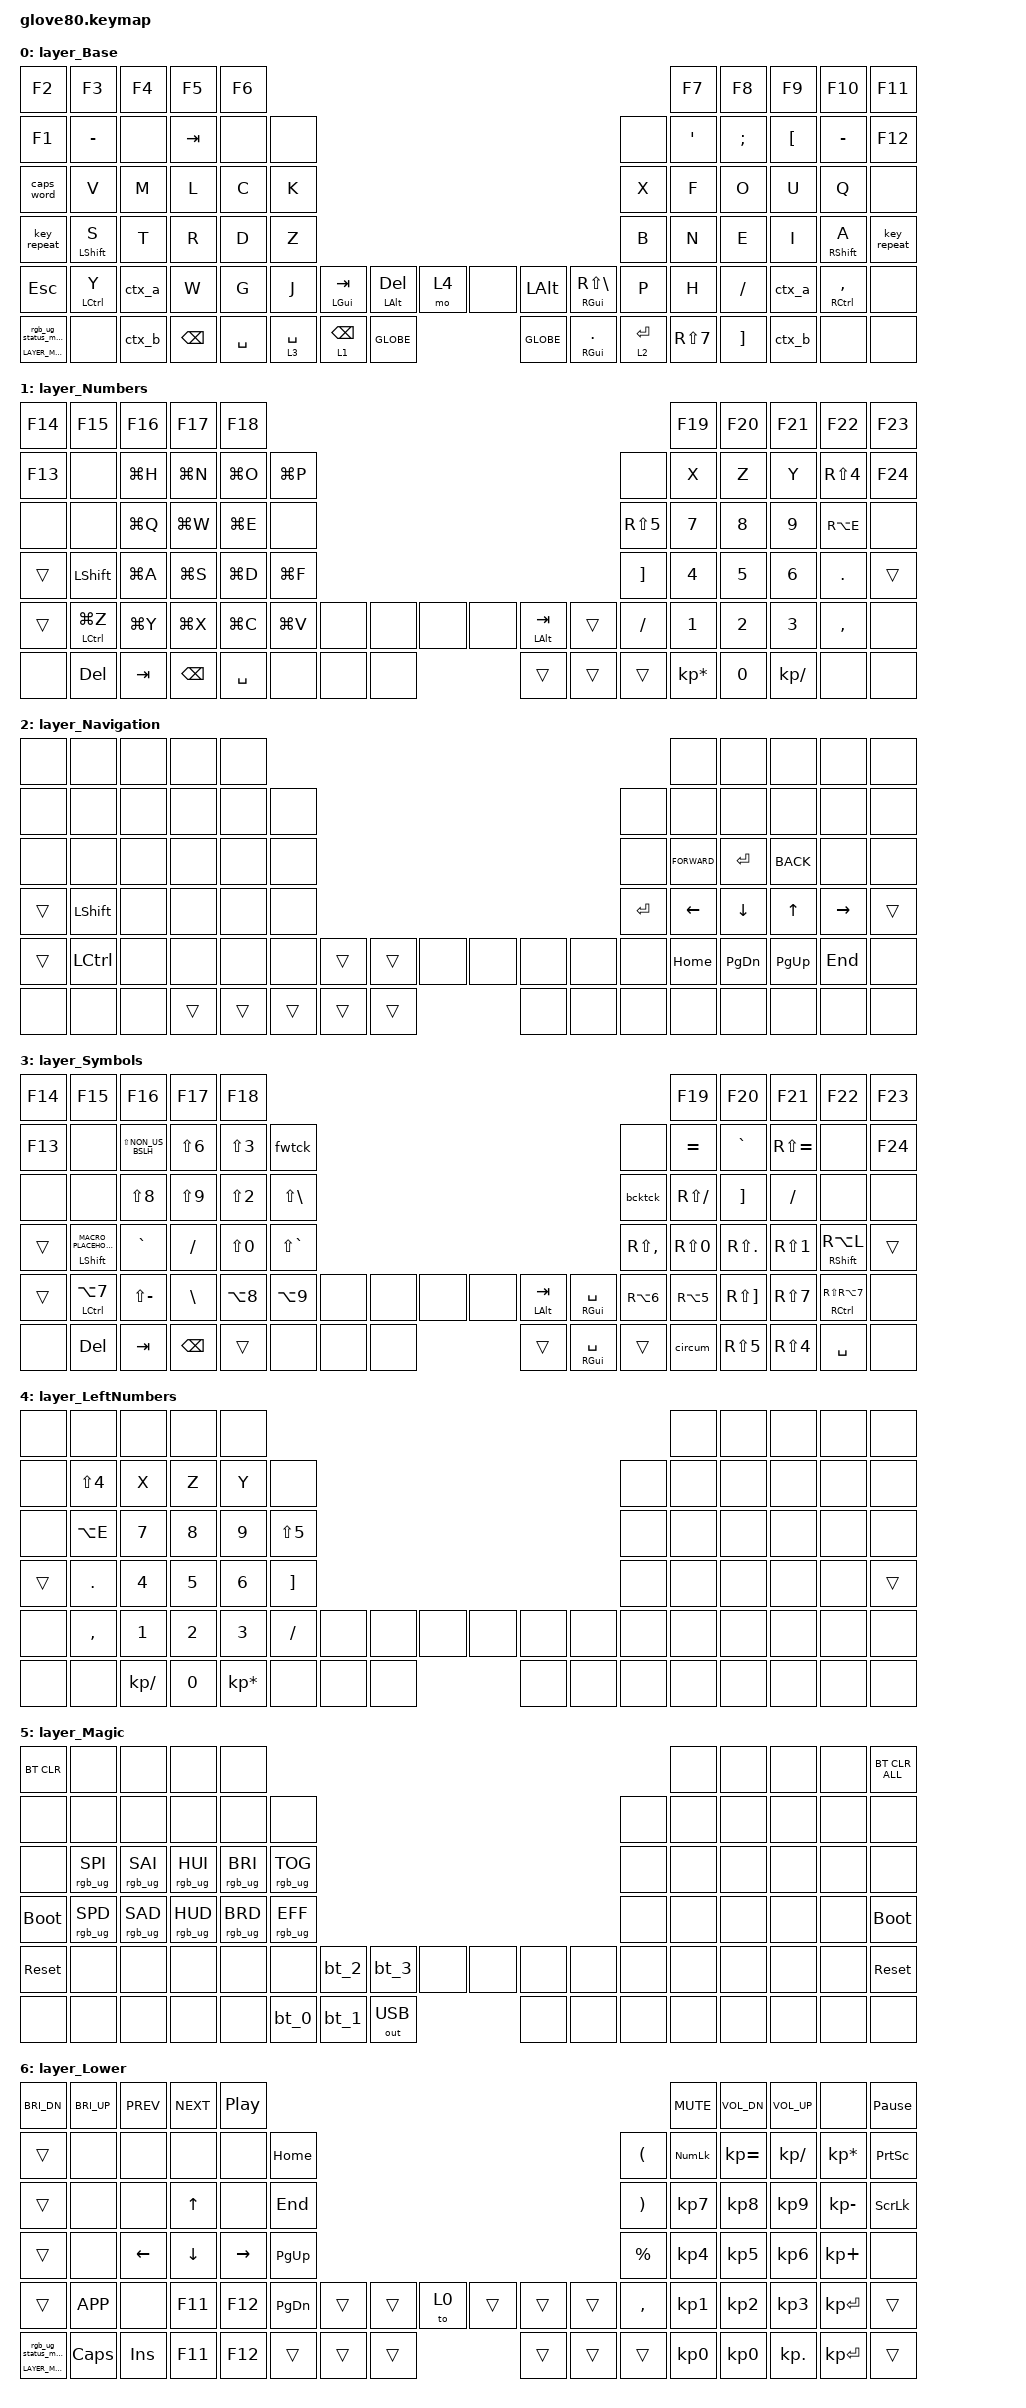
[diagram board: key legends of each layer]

/*
 * Copyright (c) 2020 The ZMK Contributors
 * Copyright (c) 2023 Innaworks Development Limited, trading as MoErgo
 *
 * SPDX-License-Identifier: MIT
 */


/* THIS FILE WAS GENERATED BY GLOVE80 LAYOUT EDITOR
 *
 * This file was generated automatically. You may or may not want to
 * edit it directly.
 */

#include <behaviors.dtsi>
/* Include all behavior includes needed */
#include <dt-bindings/zmk/outputs.h>
#include <dt-bindings/zmk/keys.h>
#include <dt-bindings/zmk/bt.h>
#include <dt-bindings/zmk/rgb.h>

/* Automatically generated layer name #define */
#define LAYER_Base 0
#define LAYER_Numbers 1
#define LAYER_Navigation 2
#define LAYER_Symbols 3
#define LAYER_LeftNumbers 4
#define LAYER_Magic 5
#define LAYER_Lower 6

/* To deal with the situation where there is no Lower layer, to keep &lower happy */
#ifndef LAYER_Lower
#define LAYER_Lower 0
#endif

/* Custom Device-tree */



/* Glove80 system behavior & macros */
/ {
    behaviors {
        // For the "layer" key, it'd nice to be able to use it as either a shift or a toggle.
        // Configure it as a tap dance, so the first tap (or hold) is a &mo and the second tap is a &to
        lower: lower {
            compatible = "zmk,behavior-tap-dance";
            label = "LAYER_TAP_DANCE";
            #binding-cells = <0>;
            tapping-term-ms = <200>;
            bindings = <&mo LAYER_Lower>, <&to LAYER_Lower>;
        };
    };
};

/ {
    macros {
        rgb_ug_status_macro: rgb_ug_status_macro {
            label = "RGB_UG_STATUS";
            compatible = "zmk,behavior-macro";
            #binding-cells = <0>;
            bindings
                = <&rgb_ug RGB_STATUS>;
        };
    };
};


/ {
#ifdef BT_DISC_CMD
    behaviors {
        bt_0: bt_0 {
            compatible = "zmk,behavior-tap-dance";
            label = "BT_0";
            #binding-cells = <0>;
            tapping-term-ms = <200>;
            bindings = <&bt_select_0>, <&bt BT_DISC 0>;
        };
        bt_1: bt_1 {
            compatible = "zmk,behavior-tap-dance";
            label = "BT_1";
            #binding-cells = <0>;
            tapping-term-ms = <200>;
            bindings = <&bt_select_1>, <&bt BT_DISC 1>;
        };
        bt_2: bt_2 {
            compatible = "zmk,behavior-tap-dance";
            label = "BT_2";
            #binding-cells = <0>;
            tapping-term-ms = <200>;
            bindings = <&bt_select_2>, <&bt BT_DISC 2>;
        };
        bt_3: bt_3 {
            compatible = "zmk,behavior-tap-dance";
            label = "BT_3";
            #binding-cells = <0>;
            tapping-term-ms = <200>;
            bindings = <&bt_select_3>, <&bt BT_DISC 3>;
        };
    };
    macros {
        bt_select_0: bt_select_0 {
            label = "BT_SELECT_0";
            compatible = "zmk,behavior-macro";
            #binding-cells = <0>;
            bindings
                = <&out OUT_BLE>,
                  <&bt BT_SEL 0>;
        };
        bt_select_1: bt_select_1 {
            label = "BT_SELECT_1";
            compatible = "zmk,behavior-macro";
            #binding-cells = <0>;
            bindings
                = <&out OUT_BLE>,
                  <&bt BT_SEL 1>;
        };
        bt_select_2: bt_select_2 {
            label = "BT_SELECT_2";
            compatible = "zmk,behavior-macro";
            #binding-cells = <0>;
            bindings
                = <&out OUT_BLE>,
                  <&bt BT_SEL 2>;
        };
        bt_select_3: bt_select_3 {
            label = "BT_SELECT_3";
            compatible = "zmk,behavior-macro";
            #binding-cells = <0>;
            bindings
                = <&out OUT_BLE>,
                  <&bt BT_SEL 3>;
        };
    };
#else
    macros {
        bt_0: bt_0 {
            label = "BT_0";
            compatible = "zmk,behavior-macro";
            #binding-cells = <0>;
            bindings
                = <&out OUT_BLE>,
                  <&bt BT_SEL 0>;
        };
        bt_1: bt_1 {
            label = "BT_1";
            compatible = "zmk,behavior-macro";
            #binding-cells = <0>;
            bindings
                = <&out OUT_BLE>,
                  <&bt BT_SEL 1>;
        };
        bt_2: bt_2 {
            label = "BT_2";
            compatible = "zmk,behavior-macro";
            #binding-cells = <0>;
            bindings
                = <&out OUT_BLE>,
                  <&bt BT_SEL 2>;
        };
        bt_3: bt_3 {
            label = "BT_3";
            compatible = "zmk,behavior-macro";
            #binding-cells = <0>;
            bindings
                = <&out OUT_BLE>,
                  <&bt BT_SEL 3>;
        };
    };
#endif
};

/ {
    behaviors {
        magic: magic {
            compatible = "zmk,behavior-hold-tap";
            label = "MAGIC_HOLD_TAP";
            #binding-cells = <2>;
            flavor = "tap-preferred";
            tapping-term-ms = <200>;
            bindings = <&mo>, <&rgb_ug_status_macro>;
        };
    };
};

/* #define for key positions */
#define POS_LH_T1 52
#define POS_LH_T2 53
#define POS_LH_T3 54
#define POS_LH_T4 69
#define POS_LH_T5 70
#define POS_LH_T6 71
#define POS_LH_C1R2 15
#define POS_LH_C1R3 27
#define POS_LH_C1R4 39
#define POS_LH_C1R5 51
#define POS_LH_C2R1 4
#define POS_LH_C2R2 14
#define POS_LH_C2R3 26
#define POS_LH_C2R4 38
#define POS_LH_C2R5 50
#define POS_LH_C2R6 68
#define POS_LH_C3R1 3
#define POS_LH_C3R2 13
#define POS_LH_C3R3 25
#define POS_LH_C3R4 37
#define POS_LH_C3R5 49
#define POS_LH_C3R6 67
#define POS_LH_C4R1 2
#define POS_LH_C4R2 12
#define POS_LH_C4R3 24
#define POS_LH_C4R4 36
#define POS_LH_C4R5 48
#define POS_LH_C4R6 66
#define POS_LH_C5R1 1
#define POS_LH_C5R2 11
#define POS_LH_C5R3 23
#define POS_LH_C5R4 35
#define POS_LH_C5R5 47
#define POS_LH_C5R6 65
#define POS_LH_C6R1 0
#define POS_LH_C6R2 10
#define POS_LH_C6R3 22
#define POS_LH_C6R4 34
#define POS_LH_C6R5 46
#define POS_LH_C6R6 64
#define POS_RH_T1 57
#define POS_RH_T2 56
#define POS_RH_T3 55
#define POS_RH_T4 74
#define POS_RH_T5 73
#define POS_RH_T6 72
#define POS_RH_C1R2 16
#define POS_RH_C1R3 28
#define POS_RH_C1R4 40
#define POS_RH_C1R5 58
#define POS_RH_C2R1 5
#define POS_RH_C2R2 17
#define POS_RH_C2R3 29
#define POS_RH_C2R4 41
#define POS_RH_C2R5 59
#define POS_RH_C2R6 75
#define POS_RH_C3R1 6
#define POS_RH_C3R2 18
#define POS_RH_C3R3 30
#define POS_RH_C3R4 42
#define POS_RH_C3R5 60
#define POS_RH_C3R6 76
#define POS_RH_C4R1 7
#define POS_RH_C4R2 19
#define POS_RH_C4R3 31
#define POS_RH_C4R4 43
#define POS_RH_C4R5 61
#define POS_RH_C4R6 77
#define POS_RH_C5R1 8
#define POS_RH_C5R2 20
#define POS_RH_C5R3 32
#define POS_RH_C5R4 44
#define POS_RH_C5R5 62
#define POS_RH_C5R6 78
#define POS_RH_C6R1 9
#define POS_RH_C6R2 21
#define POS_RH_C6R3 33
#define POS_RH_C6R4 45
#define POS_RH_C6R5 63
#define POS_RH_C6R6 79

/* Custom Defined Behaviors */
/ {
    behaviors {
        ctx_a: context_a {
            compatible = "zmk,behavior-antecedent-morph";
            label = "CONTEXT_SENSITIVE_KEY_A";
            #binding-cells = <0>;
            defaults = <&kp GLOBE>;
            antecedents = <     S     Z     V     T     M     R     L     W     D     G     C     Y     K     J     X     B     P     N     F     H     E     O     I     U     A     Q >;
            bindings    = < &kp Z &kp S &kp S &kp M &kp T &kp L &kp R &kp R &kp G &kp D &kp D &kp K &kp Y &kp Y &kp P &kp H &kp F &kp F &kp N &kp N &kp O &kp E &kp U &kp I &kp Q &kp A >;
            max-delay-ms = <5000>;
        };
        ctx_b: context_b {
            compatible = "zmk,behavior-antecedent-morph";
            label = "CONTEXT_SENSITIVE_KEY_B";
            #binding-cells = <0>;
            defaults = <&none>;
            antecedents = <     S     Z     V     R     L     W     D     G     C     Y     K     J     X     B     P     N     F     H>;
            bindings    = < &kp V &kp V &kp Z &kp W &kp W &kp L &kp C &kp C &kp G &kp J &kp J &kp K &kp B &kp X &kp B &kp H &kp H &kp F>;
            max-delay-ms = <5000>;
        };
   };
};

/* Automatically generated macro definitions */
/ {
    macros {
    
        // ~
        tilde: tilde {
            label = "&TILDE";
            compatible = "zmk,behavior-macro";
            #binding-cells = <0>;
            bindings = <&kp LA(N)>
                , <&kp SPACE>;
        };
    
        // ^
        circum: circum {
            label = "&CIRCUM";
            compatible = "zmk,behavior-macro";
            #binding-cells = <0>;
            bindings = <&kp NON_US_BSLH>
                , <&kp SPACE>;
        };
    
        // `
        bcktck: bcktck {
            label = "&BCKTCK";
            compatible = "zmk,behavior-macro";
            #binding-cells = <0>;
            bindings = <&kp LS(EQUAL)>
                , <&kp SPACE>;
        };
    
        // ´
        fwtck: fwtck {
            label = "&FWTCK";
            compatible = "zmk,behavior-macro";
            #binding-cells = <0>;
            bindings = <&kp EQUAL>
                , <&kp SPACE>;
        };
    };
};

/* Automatically generated behavior definitions */
/ {
    behaviors {

        // Modifier Hold-tap Doublebindings
        ht: ht {
            compatible = "zmk,behavior-hold-tap";
            #binding-cells = <2>;
            tapping-term-ms = <250>;
            bindings = <&kp>, <&kp>;
            flavor = "balanced";
            quick-tap-ms = <150>;
            require-prior-idle-ms = <75>;
        };

        // Shift Hold-tap Tilde
        shft_tilde: shft_tilde {
            compatible = "zmk,behavior-hold-tap";
            #binding-cells = <2>;
            tapping-term-ms = <200>;
            bindings = <&kp>, <&tilde>;
            flavor = "balanced";
            quick-tap-ms = <150>;
            require-prior-idle-ms = <75>;
        };
    };
};

/* Automatically generated combos definitions */
/ {
      combos {
          compatible = "zmk,combos";
                  // thumb + u = ü
        combo_umlaut_udia {
            key-positions = <74 31>;
            bindings = <&kp LBKT>;
            layers = <0>;
        };

        // thumb + O = Ö 
        combo_umlaut_odia {
            key-positions = <30 74>;
            bindings = <&kp SEMI>;
            layers = <0>;
        };

        // thumb + a = ä
        combo_umlaut_adia {
            key-positions = <74 44>;
            bindings = <&kp SQT>;
            layers = <0>;
        };

        // thumb + s = ß
        combo_umlaut_sz {
            key-positions = <35 69>;
            bindings = <&kp MINUS>;
            layers = <0>;
        };
      };
    };

/* Automatically generated keymap */
/ {
    keymap {
        compatible = "zmk,keymap";


        layer_Base {
            bindings = <
               &kp F2       &kp F3  &kp F4    &kp F5     &kp F6                                                                                                         &kp F7    &kp F8    &kp F9          &kp F10      &kp F11
               &kp F1    &kp MINUS   &none   &kp TAB      &none   &none                                                                                      &none     &kp SQT  &kp SEMI  &kp LBKT        &kp MINUS      &kp F12
           &caps_word        &kp V   &kp M     &kp L      &kp C   &kp K                                                                                      &kp X       &kp F     &kp O     &kp U            &kp Q        &none
          &key_repeat  &ht LSHFT S   &kp T     &kp R      &kp D   &kp Z                                                                                      &kp B       &kp N     &kp E     &kp I      &ht RSHFT A  &key_repeat
              &kp ESC  &ht LCTRL Y  &ctx_a     &kp W      &kp G   &kp J  &ht LGUI TAB  &ht LALT DEL      &mo 4      &none      &kp LALT  &ht RGUI RS(BSLH)   &kp P       &kp H  &kp FSLH    &ctx_a  &ht RCTRL COMMA        &none
 &magic LAYER_Magic 0        &none  &ctx_b  &kp BSPC  &kp SPACE           &lt 3 SPACE    &lt 1 BSPC  &kp GLOBE  &kp GLOBE  &ht RGUI DOT          &lt 2 RET          &kp RS(N7)  &kp RBKT    &ctx_b            &none        &none
            >;
        };

        layer_Numbers {
            bindings = <
 &kp F14          &kp F15    &kp F16    &kp F17    &kp F18                                                                                       &kp F19  &kp F20       &kp F21     &kp F22  &kp F23
 &kp F13            &none  &kp LG(H)  &kp LG(N)  &kp LG(O)  &kp LG(P)                                                             &none            &kp X    &kp Z         &kp Y  &kp RS(N4)  &kp F24
   &none            &none  &kp LG(Q)  &kp LG(W)  &kp LG(E)      &none                                                        &kp RS(N5)           &kp N7   &kp N8        &kp N9   &kp RA(E)    &none
  &trans        &kp LSHFT  &kp LG(A)  &kp LG(S)  &kp LG(D)  &kp LG(F)                                                          &kp RBKT           &kp N4   &kp N5        &kp N6     &kp DOT   &trans
  &trans  &ht LCTRL LG(Z)  &kp LG(Y)  &kp LG(X)  &kp LG(C)  &kp LG(V)   &none   &none   &none   &none  &ht LALT TAB  &trans    &kp FSLH           &kp N1   &kp N2        &kp N3   &kp COMMA    &none
   &none          &kp DEL    &kp TAB   &kp BSPC  &kp SPACE              &none   &none   &none  &trans        &trans  &trans              &kp KP_MULTIPLY   &kp N0  &kp KP_SLASH       &none    &none
            >;
        };

        layer_Navigation {
            bindings = <
  &none      &none   &none   &none   &none                                                                           &none      &none       &none      &none   &none
  &none      &none   &none   &none   &none   &none                                                    &none          &none      &none       &none      &none   &none
  &none      &none   &none   &none   &none   &none                                                    &none  &kp K_FORWARD    &kp RET  &kp K_BACK      &none   &none
 &trans  &kp LSHFT   &none   &none   &none   &none                                                  &kp RET       &kp LEFT   &kp DOWN      &kp UP  &kp RIGHT  &trans
 &trans  &kp LCTRL   &none   &none   &none   &none  &trans  &trans   &none   &none   &none   &none    &none       &kp HOME  &kp PG_DN   &kp PG_UP    &kp END   &none
  &none      &none   &none  &trans  &trans          &trans  &trans  &trans   &none   &none   &none                   &none      &none       &none      &none   &none
            >;
        };

        layer_Symbols {
            bindings = <
 &kp F14                              &kp F15              &kp F16     &kp F17     &kp F18                                                                                                     &kp F19       &kp F20        &kp F21               &kp F22  &kp F23
 &kp F13                                &none  &kp LS(NON_US_BSLH)  &kp LS(N6)  &kp LS(N3)         &fwtck                                                                          &none     &kp EQUAL     &kp GRAVE  &kp RS(EQUAL)                 &none  &kp F24
   &none                                &none           &kp LS(N8)  &kp LS(N9)  &kp LS(N2)   &kp LS(BSLH)                                                                        &bcktck  &kp RS(FSLH)      &kp RBKT       &kp FSLH                 &none    &none
  &trans  &shft_tilde LSHFT MACRO_PLACEHOLDER            &kp GRAVE    &kp FSLH  &kp LS(N0)  &kp LS(GRAVE)                                                                  &kp RS(COMMA)    &kp RS(N0)   &kp RS(DOT)     &kp RS(N1)       &ht RSHFT RA(L)   &trans
  &trans                     &ht LCTRL LA(N7)        &kp LS(MINUS)    &kp BSLH  &kp LA(N8)     &kp LA(N9)   &none   &none   &none   &none    &ht LALT TAB  &ht RGUI SPACE     &kp RA(N6)    &kp RA(N5)  &kp RS(RBKT)     &kp RS(N7)  &ht RCTRL RS(RA(N7))    &none
   &none                              &kp DEL              &kp TAB    &kp BSPC      &trans                  &none   &none   &none  &trans  &ht RGUI SPACE          &trans                      &circum    &kp RS(N5)     &kp RS(N4)             &kp SPACE    &none
            >;
        };

        layer_LeftNumbers {
            bindings = <
  &none       &none         &none   &none            &none                                                                       &none   &none   &none   &none   &none
  &none  &kp LS(N4)         &kp X   &kp Z            &kp Y       &none                                                   &none   &none   &none   &none   &none   &none
  &none   &kp LA(E)        &kp N7  &kp N8           &kp N9  &kp LS(N5)                                                   &none   &none   &none   &none   &none   &none
 &trans     &kp DOT        &kp N4  &kp N5           &kp N6    &kp RBKT                                                   &none   &none   &none   &none   &none  &trans
  &none   &kp COMMA        &kp N1  &kp N2           &kp N3    &kp FSLH   &none   &none   &none   &none   &none   &none   &none   &none   &none   &none   &none   &none
  &none       &none  &kp KP_SLASH  &kp N0  &kp KP_MULTIPLY               &none   &none   &none   &none   &none   &none           &none   &none   &none   &none   &none
            >;
        };

        layer_Magic {
            bindings = <
  &bt BT_CLR            &none            &none            &none            &none                                                                                  &none   &none   &none   &none  &bt BT_CLR_ALL
       &none            &none            &none            &none            &none            &none                                                         &none   &none   &none   &none   &none           &none
       &none  &rgb_ug RGB_SPI  &rgb_ug RGB_SAI  &rgb_ug RGB_HUI  &rgb_ug RGB_BRI  &rgb_ug RGB_TOG                                                         &none   &none   &none   &none   &none           &none
 &bootloader  &rgb_ug RGB_SPD  &rgb_ug RGB_SAD  &rgb_ug RGB_HUD  &rgb_ug RGB_BRD  &rgb_ug RGB_EFF                                                         &none   &none   &none   &none   &none     &bootloader
  &sys_reset            &none            &none            &none            &none            &none   &bt_2   &bt_3         &none   &none   &none   &none   &none   &none   &none   &none   &none      &sys_reset
       &none            &none            &none            &none            &none                    &bt_0   &bt_1  &out OUT_USB   &none   &none   &none           &none   &none   &none   &none           &none
            >;
        };

        layer_Lower {
            bindings = <
         &kp C_BRI_DN  &kp C_BRI_UP      &kp C_PREV      &kp C_NEXT         &kp C_PP                                                                                    &kp C_MUTE  &kp C_VOL_DN  &kp C_VOL_UP            &none  &kp PAUSE_BREAK
               &trans         &none           &none           &none            &none   &kp HOME                                                   &kp LEFT_PARENTHESIS  &kp KP_NUM  &kp KP_EQUAL  &kp KP_SLASH  &kp KP_MULTIPLY  &kp PRINTSCREEN
               &trans         &none           &none    &kp UP_ARROW            &none    &kp END                                                  &kp RIGHT_PARENTHESIS   &kp KP_N7     &kp KP_N8     &kp KP_N9     &kp KP_MINUS   &kp SCROLLLOCK
               &trans         &none  &kp LEFT_ARROW  &kp DOWN_ARROW  &kp RIGHT_ARROW  &kp PG_UP                                                            &kp PERCENT   &kp KP_N4     &kp KP_N5     &kp KP_N6      &kp KP_PLUS            &none
               &trans     &kp K_APP           &none         &kp F11          &kp F12  &kp PG_DN  &trans  &trans   &to 0  &trans  &trans  &trans              &kp COMMA   &kp KP_N1     &kp KP_N2     &kp KP_N3     &kp KP_ENTER           &trans
 &magic LAYER_Magic 0      &kp CAPS         &kp INS         &kp F11          &kp F12             &trans  &trans  &trans  &trans  &trans  &trans                          &kp KP_N0     &kp KP_N0    &kp KP_DOT     &kp KP_ENTER           &trans
            >;
        };

    };
};
